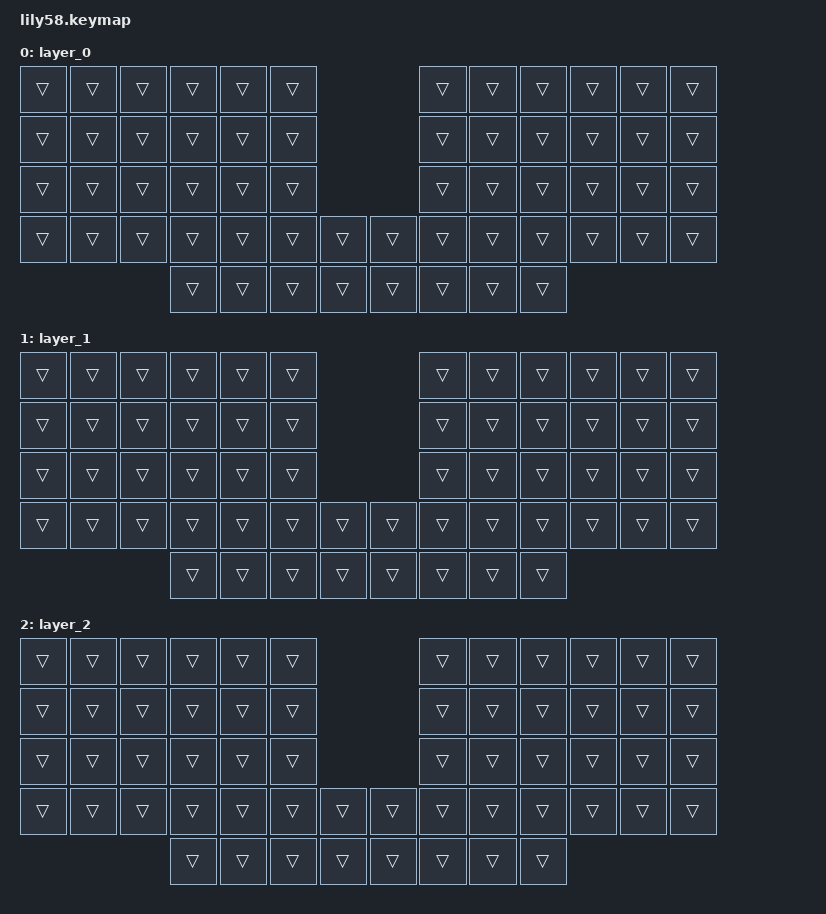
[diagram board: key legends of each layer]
/*
 * Copyright (c) 2020 The ZMK Contributors
 *
 * SPDX-License-Identifier: MIT
 */

#include <behaviors.dtsi>
#include <dt-bindings/zmk/keys.h>

&mt {
    tapping-term-ms = <250>;
    quick-tap-ms = <200>;
    flavor = "tap-preferred";
};

/ {
    behaviors {
        hold_tap: hold_tap {
            compatible = "zmk,behavior-hold-tap";
            label = "HOLD_TAP";
            bindings = <&mt>, <&kp>;

            #binding-cells = <2>;
            tapping-term-ms = <200>;
        };
    };

    keymap {
        compatible = "zmk,keymap";

        layer_0 {
            bindings = <
&trans  &trans  &trans  &trans  &trans  &trans                    &trans  &trans  &trans  &trans  &trans  &trans
&trans  &trans  &trans  &trans  &trans  &trans                    &trans  &trans  &trans  &trans  &trans  &trans
&trans  &trans  &trans  &trans  &trans  &trans                    &trans  &trans  &trans  &trans  &trans  &trans
&trans  &trans  &trans  &trans  &trans  &trans  &trans    &trans  &trans  &trans  &trans  &trans  &trans  &trans
                        &trans  &trans  &trans  &trans    &trans  &trans  &trans  &trans
            >;
        };

        layer_1 {
            bindings = <
&trans  &trans  &trans  &trans  &trans  &trans                    &trans  &trans  &trans  &trans  &trans  &trans
&trans  &trans  &trans  &trans  &trans  &trans                    &trans  &trans  &trans  &trans  &trans  &trans
&trans  &trans  &trans  &trans  &trans  &trans                    &trans  &trans  &trans  &trans  &trans  &trans
&trans  &trans  &trans  &trans  &trans  &trans  &trans    &trans  &trans  &trans  &trans  &trans  &trans  &trans
                        &trans  &trans  &trans  &trans    &trans  &trans  &trans  &trans
            >;
        };

        layer_2 {
            bindings = <
&trans  &trans  &trans  &trans  &trans  &trans                    &trans  &trans  &trans  &trans  &trans  &trans
&trans  &trans  &trans  &trans  &trans  &trans                    &trans  &trans  &trans  &trans  &trans  &trans
&trans  &trans  &trans  &trans  &trans  &trans                    &trans  &trans  &trans  &trans  &trans  &trans
&trans  &trans  &trans  &trans  &trans  &trans  &trans    &trans  &trans  &trans  &trans  &trans  &trans  &trans
                        &trans  &trans  &trans  &trans    &trans  &trans  &trans  &trans
            >;
        };
    };
};
